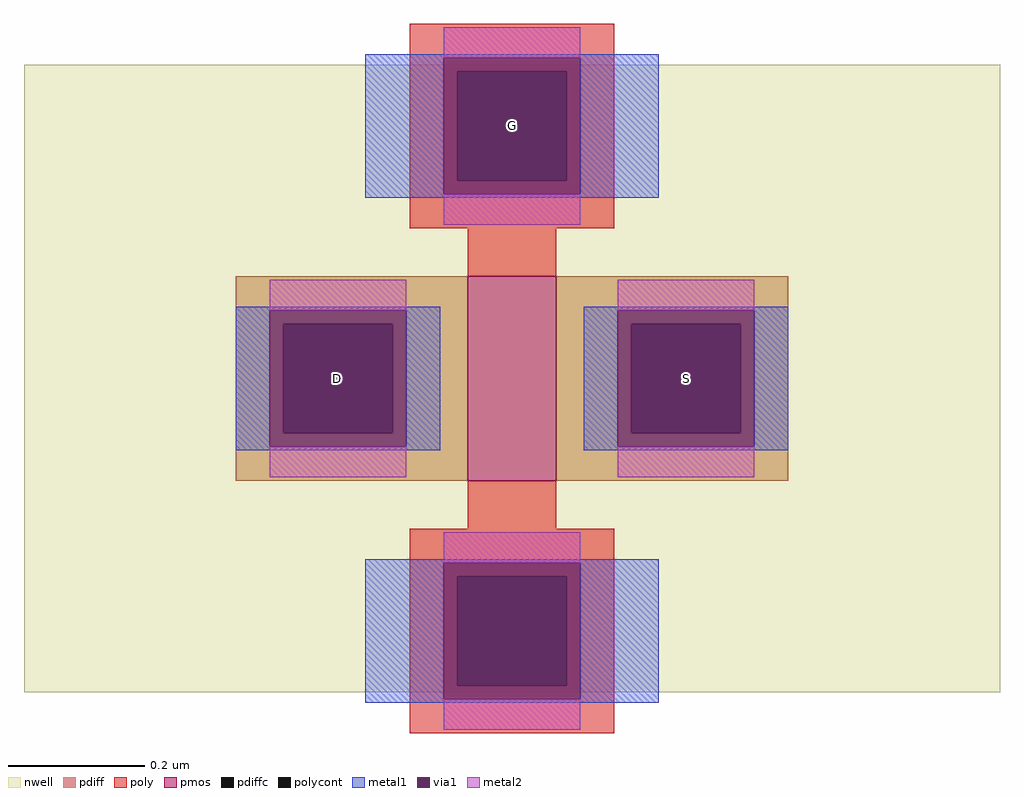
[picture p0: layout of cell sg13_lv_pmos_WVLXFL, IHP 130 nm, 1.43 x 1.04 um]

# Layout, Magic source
magic
tech ihp-sg13cmos5l
magscale 1 2
<< nwell >>
rect -143 -92 143 92
<< pmos >>
rect -13 -30 13 30
<< pdiff >>
rect -81 16 -13 30
rect -81 -16 -67 16
rect -35 -16 -13 16
rect -81 -30 -13 -16
rect 13 16 81 30
rect 13 -16 35 16
rect 67 -16 81 16
rect 13 -30 81 -16
<< pdiffc >>
rect -67 -16 -35 16
rect 35 -16 67 16
<< poly >>
rect -30 90 30 104
rect -30 58 -16 90
rect 16 58 30 90
rect -30 44 30 58
rect -13 30 13 44
rect -13 -44 13 -30
rect -30 -58 30 -44
rect -30 -90 -16 -58
rect 16 -90 30 -58
rect -30 -104 30 -90
<< polycont >>
rect -16 58 16 90
rect -16 -90 16 -58
<< metal1 >>
rect -43 94 43 95
rect -43 54 -20 94
rect 20 54 43 94
rect -43 53 43 54
rect -81 20 -21 21
rect -81 -20 -71 20
rect -31 -20 -21 20
rect -81 -21 -21 -20
rect 21 20 81 21
rect 21 -20 31 20
rect 71 -20 81 20
rect 21 -21 81 -20
rect -43 -54 43 -53
rect -43 -94 -20 -54
rect 20 -94 43 -54
rect -43 -95 43 -94
<< via1 >>
rect -20 90 20 94
rect -20 58 -16 90
rect -16 58 16 90
rect 16 58 20 90
rect -20 54 20 58
rect -71 16 -31 20
rect -71 -16 -67 16
rect -67 -16 -35 16
rect -35 -16 -31 16
rect -71 -20 -31 -16
rect 31 16 71 20
rect 31 -16 35 16
rect 35 -16 67 16
rect 67 -16 71 16
rect 31 -20 71 -16
rect -20 -58 20 -54
rect -20 -90 -16 -58
rect -16 -90 16 -58
rect 16 -90 20 -58
rect -20 -94 20 -90
<< metal2 >>
rect -20 94 20 103
rect -20 45 20 54
rect -71 20 -31 29
rect -71 -29 -31 -20
rect 31 20 71 29
rect 31 -29 71 -20
rect -20 -54 20 -45
rect -20 -103 20 -94
<< labels >>
rlabel pdiffc -51 0 -51 0 0 D
port 7 nsew
rlabel pdiffc 51 0 51 0 0 S
port 8 nsew
rlabel polycont 0 74 0 74 0 G
port 9 nsew
<< properties >>
string gencell sg13_lv_pmos
string library sg13cmos5l
string parameters w 0.3 l 0.13 m 1 ng 1 diffcov 100 polycov 100 guard 0 glc 1 grc 1 gtc 1 gbc 1 tbcov 100 rlcov 100 topc 1 botc 1 poverlap 0 doverlap 1 lmin 0.13 wmin 0.15 class mosfet compatible {sg13_lv_pmos sg13_hv_pmos} full_metal 1 conn_gates 0 gate_ring 0 ccols 1 viasrc 100 viadrn 100 viagate 100 viagb 0 viagr 0 viagl 0 viagt 0 doports 1
<< end >>
